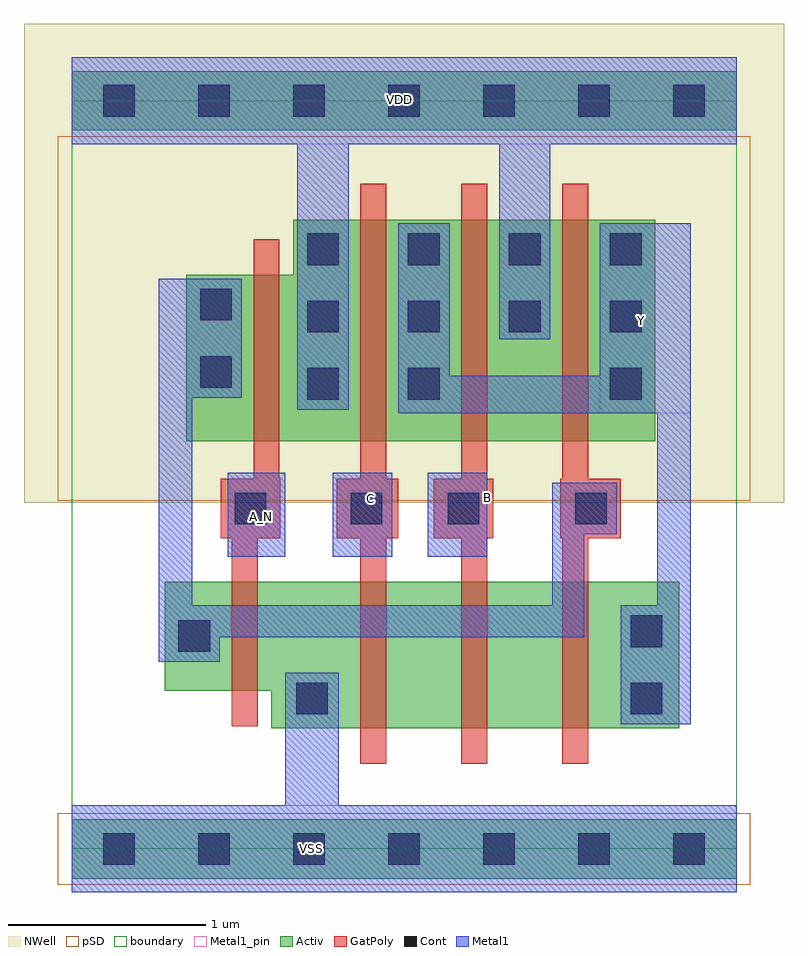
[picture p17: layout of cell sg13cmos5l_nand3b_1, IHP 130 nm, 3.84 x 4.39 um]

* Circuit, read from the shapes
.subckt sg13cmos5l_nand3b_1 A_N B C VDD VSS Y
XM1 VSS A_N n1 VSS sg13_lv_nmos w=0.55u l=0.13u
XM2 n2 C VSS VSS sg13_lv_nmos w=0.74u l=0.13u
XM3 n3 B n2 VSS sg13_lv_nmos w=0.74u l=0.13u
XM4 Y n1 n3 VSS sg13_lv_nmos w=0.74u l=0.13u
XM5 VDD A_N n1 VDD sg13_lv_pmos w=0.84u l=0.13u
XM6 Y C VDD VDD sg13_lv_pmos w=1.12u l=0.13u
XM7 VDD B Y VDD sg13_lv_pmos w=1.12u l=0.13u
XM8 Y n1 VDD VDD sg13_lv_pmos w=1.12u l=0.13u
.ends

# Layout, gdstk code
import gdstk
lib = gdstk.Library(unit=1e-6, precision=1e-09)
def R(c, l, rs):  # rectangles x0, y0, x1, y1
    for r in rs: c.add(gdstk.rectangle(r[:2], r[2:], *l))
def A(c, l, x, y, w, h, nx, ny, dx, dy):  # array of equal rectangles
    R(c, l, [(x+i*dx, y+j*dy, x+i*dx+w, y+j*dy+h) for i in range(nx) for j in range(ny)])
def P(c, l, *ps):  # polygons
    for p in ps: c.add(gdstk.Polygon(p, *l))
Activ = (1, 0)
GatPoly = (5, 0)
Cont = (6, 0)
Metal1 = (8, 0)
Metal1_pin = (8, 2)
pSD = (14, 0)
NWell = (31, 0)
boundary = (189, 4)

sg13cmos5l_nand3b_1 = lib.new_cell('sg13cmos5l_nand3b_1')
R(sg13cmos5l_nand3b_1, Activ, [(0,-0.15,3.36,0.15), (0,3.63,3.36,3.93)])
P(sg13cmos5l_nand3b_1, Activ, [(1.01,0.61),(1.01,0.8),(0.47,0.8),(0.47,1.35),(3.07,1.35),(3.07,0.61)],
  [(0.58,2.06),(0.58,2.9),(1.12,2.9),(1.12,3.18),(2.95,3.18),(2.95,2.06)])
P(sg13cmos5l_nand3b_1, GatPoly, [(2.48,0.43),(2.48,1.57),(2.47,1.57),(2.47,1.87),(2.48,1.87),(2.48,3.36),(2.61,3.36),(2.61,1.87),(2.775,1.87),(2.775,1.57),(2.61,1.57),(2.61,0.43)],
  [(0.81,0.62),(0.81,1.57),(0.755,1.57),(0.755,1.87),(0.92,1.87),(0.92,3.08),(1.05,3.08),(1.05,1.87),(1.055,1.87),(1.055,1.57),(0.94,1.57),(0.94,0.62)],
  [(1.46,0.43),(1.46,1.57),(1.34,1.57),(1.34,1.87),(1.46,1.87),(1.46,3.36),(1.59,3.36),(1.59,1.87),(1.65,1.87),(1.65,1.57),(1.59,1.57),(1.59,0.43)],
  [(1.97,0.43),(1.97,1.57),(1.83,1.57),(1.83,1.87),(1.97,1.87),(1.97,3.36),(2.1,3.36),(2.1,1.87),(2.13,1.87),(2.13,1.57),(2.1,1.57),(2.1,0.43)])
A(sg13cmos5l_nand3b_1, Cont, 1.19, 2.61, 0.16, 0.16, 4, 2, 0.51, 0.34)
R(sg13cmos5l_nand3b_1, Cont, [(0.16,-0.08,0.32,0.08), (0.16,-0.08,0.32,0.08), (0.16,-0.08,0.32,0.08), (0.64,-0.08,0.8,0.08), (0.64,-0.08,0.8,0.08), (1.12,-0.08,1.28,0.08), (1.12,-0.08,1.28,0.08), (1.6,-0.08,1.76,0.08), (1.6,-0.08,1.76,0.08), (2.08,-0.08,2.24,0.08), (2.08,-0.08,2.24,0.08), (2.56,-0.08,2.72,0.08), (2.56,-0.08,2.72,0.08), (3.04,-0.08,3.2,0.08), (3.04,-0.08,3.2,0.08), (1.135,0.68,1.295,0.84), (2.825,0.68,2.985,0.84), (0.54,0.995,0.7,1.155), (2.825,1.02,2.985,1.18), (0.825,1.64,0.985,1.8), (1.41,1.64,1.57,1.8), (1.9,1.64,2.06,1.8), (2.545,1.64,2.705,1.8), (1.19,2.27,1.35,2.43), (1.7,2.27,1.86,2.43), (2.72,2.27,2.88,2.43), (0.65,2.33,0.81,2.49), (0.65,2.67,0.81,2.83), (0.16,3.7,0.32,3.86), (0.16,3.7,0.32,3.86), (0.16,3.7,0.32,3.86), (0.64,3.7,0.8,3.86), (0.64,3.7,0.8,3.86), (1.12,3.7,1.28,3.86), (1.12,3.7,1.28,3.86), (1.6,3.7,1.76,3.86), (1.6,3.7,1.76,3.86), (2.08,3.7,2.24,3.86), (2.08,3.7,2.24,3.86), (2.56,3.7,2.72,3.86), (2.56,3.7,2.72,3.86), (3.04,3.7,3.2,3.86), (3.04,3.7,3.2,3.86)])
R(sg13cmos5l_nand3b_1, Metal1, [(0.79,1.475,1.08,1.9), (1.32,1.475,1.62,1.9), (1.8,1.475,2.1,1.9)])
P(sg13cmos5l_nand3b_1, Metal1, [(2.775,0.63),(2.775,1.23),(2.96,1.23),(2.96,2.2),(1.65,2.2),(1.65,3.16),(1.91,3.16),(1.91,2.39),(2.67,2.39),(2.67,3.16),(3.13,3.16),(3.13,0.63)],
  [(1.14,2.22),(1.14,3.56),(0,3.56),(0,4),(3.36,4),(3.36,3.56),(2.42,3.56),(2.42,2.575),(2.16,2.575),(2.16,3.56),(1.4,3.56),(1.4,2.22)],
  [(0,-0.22),(0,0.22),(1.08,0.22),(1.08,0.89),(1.35,0.89),(1.35,0.22),(3.36,0.22),(3.36,-0.22)],
  [(0.44,0.945),(0.44,2.88),(0.86,2.88),(0.86,2.28),(0.61,2.28),(0.61,1.23),(2.43,1.23),(2.43,1.85),(2.755,1.85),(2.755,1.59),(2.59,1.59),(2.59,1.07),(0.75,1.07),(0.75,0.945)])
R(sg13cmos5l_nand3b_1, Metal1_pin, [(0,-0.22,3.36,0.22), (0.79,1.475,1.08,1.9), (1.32,1.475,1.62,1.9), (1.8,1.475,2.1,1.9), (2.67,2.2,3.13,3.16), (0,3.56,3.36,4)])
R(sg13cmos5l_nand3b_1, pSD, [(-0.07,-0.18,3.43,0.18), (-0.07,1.76,3.43,3.6)])
R(sg13cmos5l_nand3b_1, NWell, [(-0.24,1.75,3.6,4.17)])
R(sg13cmos5l_nand3b_1, boundary, [(0,0,3.36,3.78)])
sg13cmos5l_nand3b_1.add(gdstk.Label('A_N', (0.96,1.68), layer=8, texttype=25))
sg13cmos5l_nand3b_1.add(gdstk.Label('Y', (2.88,2.67), layer=8, texttype=25))
sg13cmos5l_nand3b_1.add(gdstk.Label('VDD', (1.655,3.785), layer=8, texttype=25))
sg13cmos5l_nand3b_1.add(gdstk.Label('VSS', (1.215,0), layer=8, texttype=25))
sg13cmos5l_nand3b_1.add(gdstk.Label('B', (2.1,1.775), layer=8, texttype=25))
sg13cmos5l_nand3b_1.add(gdstk.Label('C', (1.51,1.77), layer=8, texttype=25))

lib.write_gds('sg13cmos5l_nand3b_1.gds')
